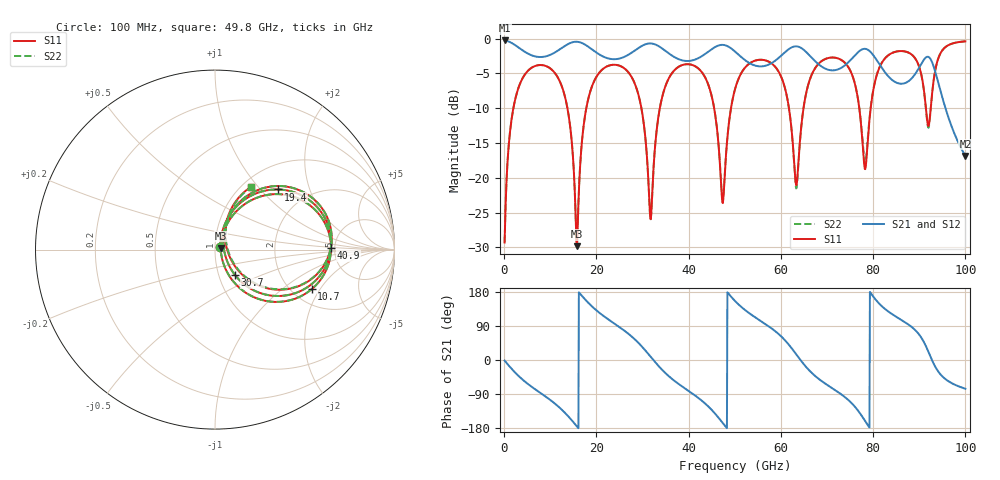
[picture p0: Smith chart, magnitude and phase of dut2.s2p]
! Touchstone file exported from HFSS 2026.1.0
!  File:  C:/ffzhzh/LocalFiles/Ansys_Project_Files/temp_train_TSV_RDL_2_1783435666_7600.aedt
!  Generated:  11:02:18 PM Jul  7, 2026
!  Design:  TSV_RDL
!  Project:  temp_train_TSV_RDL_2_1783435666_7600
! Variables:
!  h_bsmrdl = 2.62um
!  h_ox = 20um
!  h_rdl = 5um
!  h_sub = 54.84um
!  h_tmrdl = 3.1um
!  h_tsv = 54.84um
!  h_via = 3um
!  l_bsmrdl = 541.72um
!  l_sub = 3812.47um
!  l_tmrdl = 425.31um
!  m_sub = 200um
!  pitch = 54.71um
!  r_tsv = 13.21um
!  s_tmrdl = 10um
!  w_bsmrdl = 16.1um
!  w_sub = 500um
!  w_tmrdl = 12.59um
!  x_tsv_center1 = 431.605um
!  x_tsv_center2 = 989.425um
!  x_tsv_center3 = 1427.325um
!  x_tsv_center4 = 1985.145um
!  x_tsv_center5 = 2423.045um
!  x_tsv_center6 = 2980.865um
# GHz S MA R 50.000000
! Terminal data exported
! Port[1] = TM_RDL1_1_T1
! Port[2] = TM_RDL5_1_T1
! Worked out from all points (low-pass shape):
!   1000 points, 100 MHz to 100 GHz, reference 50 ohm
!   highest |S21| = -0.26 dB at 100 MHz (marker M1); lowest = -16.9 dB at 100 GHz (marker M2)
!   |S21| within 3 dB of the highest: start of sweep to 52.58 GHz; 58.58 GHz to 67.46 GHz (8.882 GHz wide, 14.1 % of centre) (the widest 2 of 4)
!   lowest |S11| = -29.8 dB at 15.8 GHz (marker M3), VSWR 1.07, Z = 53.2 + j0.933 ohm
!   |S11| at or under -10 dB: 13.72 GHz to 17.81 GHz (4.087 GHz wide, 25.9 % of centre); 29.76 GHz to 33.75 GHz (3.99 GHz wide, 12.6 % of centre); 45.53 GHz to 49.18 GHz (3.648 GHz wide, 7.7 % of centre) (the widest 3 of 7)
!   |S22| runs from -29.7 to -0.4 dB; largest |S21 - S12| = 2.2e-12
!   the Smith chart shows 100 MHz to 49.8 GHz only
!   S11 on the Smith chart (normalised r, x): 100 MHz: 1.06, +0.04; 10.7 GHz: 2.53, -1.69; 19.4 GHz: 1.44, +1.26; 30.7 GHz: 1.20, -0.35; 40.9 GHz: 4.63, +0.15; 49.8 GHz: 1.10, +0.92
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0.1  0.03428 30.2  0.9707 -1.5  0.9707 -1.5  0.03428 30.2
! Gamma 0 0 0 0
! Port Impedance 50 0 50 0
3  0.433 45.2  0.8698 -40.7  0.8698 -40.7  0.433 45.2
10.7  0.582 -22.3  0.7856 -112.1  0.7856 -112.1  0.582 -22.2
15.8  0.03228 15.8  0.95 -175.5  0.95 -175.5  0.03273 15.8
16.8  0.1727 68.5  0.9325 170.1  0.9325 170.1  0.1728 68.4
19.4  0.4859 43.6  0.8208 137.4  0.8208 137.4  0.486 43.6
24.9  0.641 -2.5  0.7183 87.7  0.7183 87.7  0.641 -2.5
30.7  0.1812 -51.8  0.9128 24.0  0.9128 24.0  0.1812 -51.7
31.8  0.05052 15.9  0.9241 8.0  0.9241 8.0  0.05038 15.9
33.4  0.2687 64.3  0.8873 -14.8  0.8873 -14.8  0.2686 64.4
40.9  0.6452 0.8  0.6991 -89.3  0.6991 -89.3  0.6452 1.0
47.4  0.06577 16.0  0.9023 -166.2  0.9023 -166.2  0.06912 16.0
49.8  0.4019 60.2  0.8217 159.1  0.8217 159.1  0.4025 59.8
50.1  0.4387 57.4  0.8057 155.2  0.8057 155.2  0.4393 57.0
60.4  0.4978 -25.4  0.7725 58.3  0.7725 58.3  0.4973 -25.7
63.3  0.08855 9.3  0.8807 15.4  0.8807 15.4  0.08391 9.1
66.7  0.553 48.8  0.7285 -34.1  0.7285 -34.1  0.5525 49.4
72.8  0.7117 3.2  0.6097 -88.1  0.6097 -88.1  0.7119 3.8
78.5  0.1303 41.5  0.8423 -165.4  0.8423 -165.4  0.1414 39.4
83.4  0.7645 33.1  0.5314 127.0  0.5314 127.0  0.7653 32.6
92.3  0.2715 39.4  0.7247 12.5  0.7247 12.5  0.2662 40.0
100  0.957 9.5  0.1437 -75.8  0.1437 -75.8  0.957 9.6
